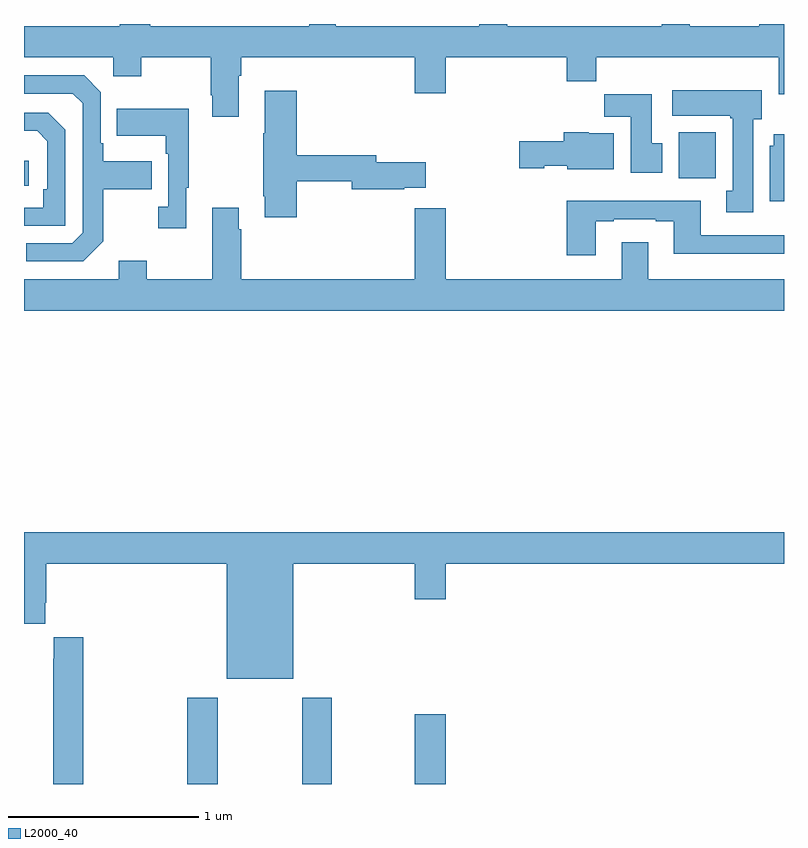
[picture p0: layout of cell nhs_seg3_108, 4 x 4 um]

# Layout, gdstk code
import gdstk
lib = gdstk.Library(unit=1e-6, precision=1e-09)
def R(c, l, rs):  # rectangles x0, y0, x1, y1
    for r in rs: c.add(gdstk.rectangle(r[:2], r[2:], *l))
def P(c, l, *ps):  # polygons
    for p in ps: c.add(gdstk.Polygon(p, *l))
L2000_40 = (2000, 40)

nhs_seg3_108 = lib.new_cell('nhs_seg3_108')
R(nhs_seg3_108, L2000_40, [(115.859,722.4,116.019,722.854), (116.464,722.4,116.619,722.854), (117.056,722.4,117.22,722.767), (115,725.55,115.024,725.68), (118.445,725.588,118.642,725.83)])
P(nhs_seg3_108, L2000_40, [(116.131,726.128),(116.144,726.128),(116.144,726.224),(117.056,726.224),(117.056,726.036),(117.22,726.036),(117.22,726.224),(117.857,726.224),(117.857,726.1),(118.013,726.1),(118.013,726.224),(118.973,726.224),(118.973,726.03),(119,726.03),(119,726.4),(118.87,726.4),(118.87,726.388),(118.503,726.388),(118.503,726.4),(118.356,726.4),(118.356,726.388),(117.543,726.388),(117.543,726.4),(117.395,726.4),(117.395,726.388),(116.641,726.388),(116.641,726.4),(116.501,726.4),(116.501,726.388),(115.665,726.388),(115.665,726.4),(115.505,726.4),(115.505,726.388),(115,726.388),(115,726.224),(115.47,726.224),(115.47,726.125),(115.617,726.125),(115.617,726.224),(115.984,726.224),(115.984,726.025),(115.991,726.025),(115.991,725.913),(116.131,725.913)],
  [(115.417,725.257),(115.417,725.53),(115.673,725.53),(115.673,725.677),(115.417,725.677),(115.417,725.773),(115.404,725.773),(115.404,726.042),(115.317,726.129),(115,726.129),(115,726.033),(115.257,726.033),(115.308,725.982),(115.308,725.301),(115.254,725.247),(115.011,725.247),(115.011,725.151),(115.311,725.151)],
  [(118.837,725.898),(118.882,725.898),(118.882,726.052),(118.413,726.052),(118.413,725.918),(118.717,725.918),(118.717,725.905),(118.73,725.905),(118.73,725.522),(118.697,725.522),(118.697,725.409),(118.837,725.409)],
  [(116.435,725.572),(116.726,725.572),(116.726,725.53),(117.002,725.53),(117.002,725.537),(117.115,725.537),(117.115,725.672),(116.854,725.672),(116.854,725.708),(116.435,725.708),(116.435,726.049),(116.267,726.049),(116.267,725.825),(116.26,725.825),(116.26,725.494),(116.267,725.494),(116.267,725.382),(116.435,725.382)],
  [(118.36,725.772),(118.303,725.772),(118.303,726.031),(118.054,726.031),(118.054,725.912),(118.193,725.912),(118.193,725.616),(118.36,725.616)],
  [(115.855,725.537),(115.867,725.537),(115.867,725.953),(115.489,725.953),(115.489,725.813),(115.746,725.813),(115.746,725.717),(115.758,725.717),(115.758,725.438),(115.707,725.438),(115.707,725.325),(115.855,725.325)],
  [(115.218,725.844),(115.128,725.934),(115,725.934),(115,725.837),(115.069,725.837),(115.122,725.784),(115.122,725.53),(115.102,725.53),(115.102,725.433),(115,725.433),(115,725.337),(115.218,725.337)],
  [(118.105,725.824),(117.972,725.824),(117.972,725.83),(117.842,725.83),(117.842,725.784),(117.606,725.784),(117.606,725.642),(117.738,725.642),(117.738,725.654),(117.858,725.654),(117.858,725.636),(118.105,725.636)],
  [(119,725.821),(118.946,725.821),(118.946,725.76),(118.925,725.76),(118.925,725.468),(119,725.468)],
  [(118.009,725.361),(118.105,725.361),(118.105,725.373),(118.325,725.373),(118.325,725.361),(118.421,725.361),(118.421,725.192),(119,725.192),(119,725.289),(118.561,725.289),(118.561,725.47),(117.857,725.47),(117.857,725.184),(118.009,725.184)],
  [(119,725.056),(118.285,725.056),(118.285,725.251),(118.145,725.251),(118.145,725.056),(117.22,725.056),(117.22,725.431),(117.056,725.431),(117.056,725.056),(116.144,725.056),(116.144,725.321),(116.131,725.321),(116.131,725.434),(115.991,725.434),(115.991,725.056),(115.647,725.056),(115.647,725.155),(115.499,725.155),(115.499,725.056),(115,725.056),(115,724.892),(119,724.892)],
  [(116.416,723.56),(117.056,723.56),(117.056,723.372),(117.22,723.372),(117.22,723.56),(119,723.56),(119,723.724),(115,723.724),(115,723.243),(115.111,723.243),(115.111,723.355),(115.118,723.355),(115.118,723.56),(116.066,723.56),(116.066,722.954),(116.416,722.954)],
  [(115.313,723.172),(115.157,723.172),(115.157,723.059),(115.153,723.059),(115.153,722.4),(115.313,722.4)])

lib.write_gds('nhs_seg3_108.gds')
